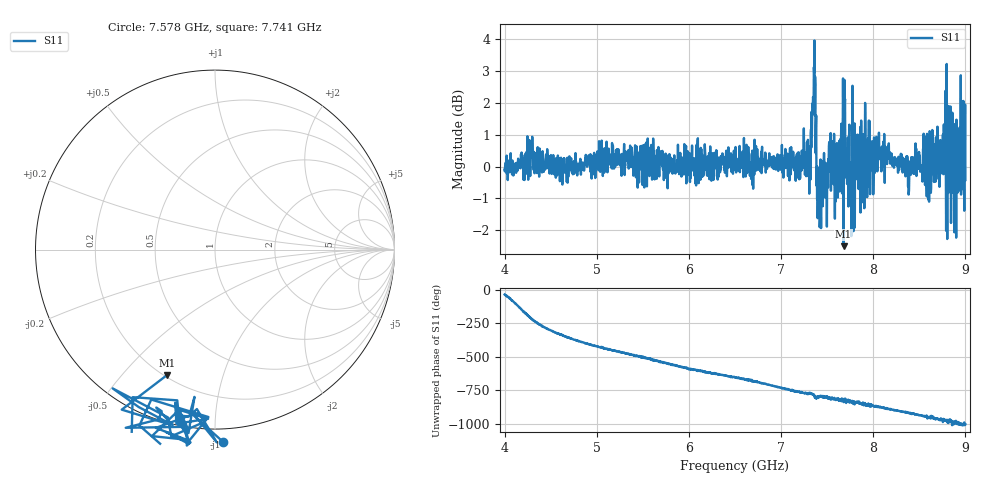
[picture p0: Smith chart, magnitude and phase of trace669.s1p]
! Created with skrf 1.8.0 (http://scikit-rf.org).
# Hz S RI R 50.0
!freq ReS11 ImS11
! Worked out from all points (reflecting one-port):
!   1601 points, 4 GHz to 9 GHz, reference 50 ohm
!   lowest |S11| = -2.5 dB at 7.678 GHz (marker M1), VSWR 7.01, Z = 10.4 - j33.3 ohm
!   phase of S11 starts at -35 deg and turns -971 deg over the sweep
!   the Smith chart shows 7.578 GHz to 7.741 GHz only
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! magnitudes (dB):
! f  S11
! 4 GHz  -0.1
! 4.284 GHz  0.3
! 4.625 GHz  -0.5
! 5.25 GHz  0.2
! 5.875 GHz  -0.2
! 6.5 GHz  -0.1
! 7.125 GHz  0.0
! 7.294 GHz  -0.3
! 7.356 GHz  3.1
! 7.409 GHz  -0.8
! 7.541 GHz  -0.8
! 7.609 GHz  -0.5
! 7.65 GHz  0.7
! 7.678 GHz  -2.5
! 7.75 GHz  0.0
! 7.769 GHz  -1.3
! 7.834 GHz  0.4
! 8.053 GHz  0.6
! 8.375 GHz  0.2
! 8.478 GHz  0.0
! 8.603 GHz  0.2
! 8.656 GHz  0.4
! 8.697 GHz  1.2
! 8.772 GHz  0.9
! 8.819 GHz  1.3
! 8.869 GHz  -0.4
! 8.972 GHz  0.4
! 9 GHz  -0.4
